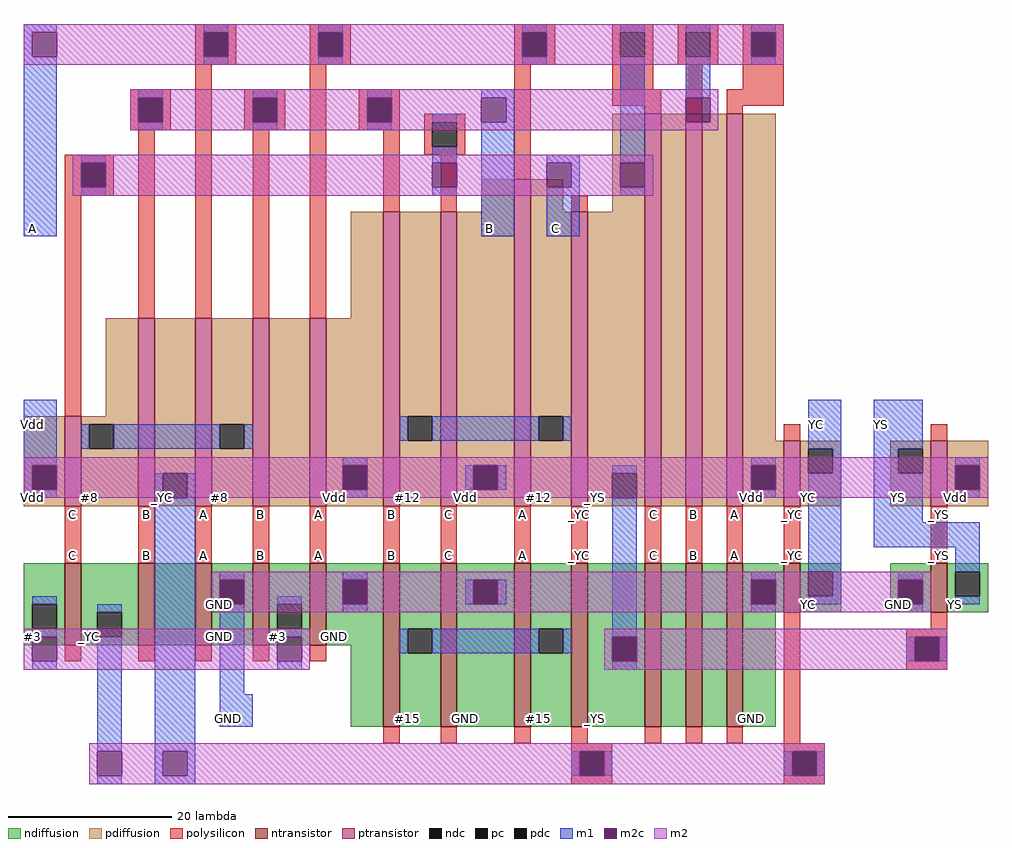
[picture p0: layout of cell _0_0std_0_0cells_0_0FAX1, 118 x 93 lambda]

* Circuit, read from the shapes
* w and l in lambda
.subckt _0_0std_0_0cells_0_0FAX1 #12 #15 #3 #8 A B C GND Vdd YC YS _YC _YS
M1 _YC C #3 VSUBS nfet w=10 l=2
M2 n1 B _YC VSUBS nfet w=10 l=2
M3 GND A n1 VSUBS nfet w=10 l=2
M4 #3 B GND VSUBS nfet w=10 l=2
M5 GND A #3 VSUBS nfet w=10 l=2
M6 #15 B GND VSUBS nfet w=20 l=2
M7 GND C #15 VSUBS nfet w=20 l=2
M8 #15 A GND VSUBS nfet w=20 l=2
M9 _YS _YC #15 VSUBS nfet w=20 l=2
M10 n2 C _YS VSUBS nfet w=20 l=2
M11 n3 B n2 VSUBS nfet w=20 l=2
M12 GND A n3 VSUBS nfet w=20 l=2
M13 YC _YC GND VSUBS nfet w=6 l=2
M14 YS _YS GND VSUBS nfet w=6 l=2
M15 #8 C Vdd NWELL pfet w=11 l=2
M16 _YC B #8 NWELL pfet w=23 l=2
M17 #8 A _YC NWELL pfet w=23 l=2
M18 n4 B #8 NWELL pfet w=23 l=2
M19 Vdd A n4 NWELL pfet w=23 l=2
M20 #12 B Vdd NWELL pfet w=36 l=2
M21 Vdd C #12 NWELL pfet w=36 l=2
M22 #12 A Vdd NWELL pfet w=40 l=2
M23 _YS _YC #12 NWELL pfet w=36 l=2
M24 n5 C _YS NWELL pfet w=48 l=2
M25 n6 B n5 NWELL pfet w=48 l=2
M26 Vdd A n6 NWELL pfet w=48 l=2
M27 YC _YC Vdd NWELL pfet w=8 l=2
M28 Vdd _YS YS NWELL pfet w=8 l=2
.ends

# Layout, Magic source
magic
tech sky130l
<< ndiffusion >>
rect 8 19 13 24
rect 8 16 9 19
rect 12 16 13 19
rect 8 14 13 16
rect 15 18 22 24
rect 15 15 17 18
rect 20 15 22 18
rect 15 14 22 15
rect 24 14 29 24
rect 31 22 36 24
rect 31 19 32 22
rect 35 19 36 22
rect 31 14 36 19
rect 38 19 43 24
rect 38 16 39 19
rect 42 16 43 19
rect 38 14 43 16
rect 45 22 52 24
rect 45 19 47 22
rect 50 19 52 22
rect 45 14 52 19
rect 48 4 52 14
rect 54 16 59 24
rect 54 13 55 16
rect 58 13 59 16
rect 54 4 59 13
rect 61 22 68 24
rect 61 19 63 22
rect 66 19 68 22
rect 61 4 68 19
rect 70 16 75 24
rect 70 13 71 16
rect 74 13 75 16
rect 70 4 75 13
rect 77 15 84 24
rect 77 12 80 15
rect 83 12 84 15
rect 77 4 84 12
rect 86 4 89 24
rect 91 4 94 24
rect 96 22 101 24
rect 96 19 97 22
rect 100 19 101 22
rect 96 18 101 19
rect 103 23 108 24
rect 103 20 104 23
rect 107 20 108 23
rect 103 18 108 20
rect 114 22 119 24
rect 114 19 115 22
rect 118 19 119 22
rect 114 18 119 19
rect 121 23 126 24
rect 121 20 122 23
rect 125 20 126 23
rect 121 18 126 20
rect 96 4 100 18
<< ndc >>
rect 9 16 12 19
rect 17 15 20 18
rect 32 19 35 22
rect 39 16 42 19
rect 47 19 50 22
rect 55 13 58 16
rect 63 19 66 22
rect 71 13 74 16
rect 80 12 83 15
rect 97 19 100 22
rect 104 20 107 23
rect 115 19 118 22
rect 122 20 125 23
<< ntransistor >>
rect 13 14 15 24
rect 22 14 24 24
rect 29 14 31 24
rect 36 14 38 24
rect 43 14 45 24
rect 52 4 54 24
rect 59 4 61 24
rect 68 4 70 24
rect 75 4 77 24
rect 84 4 86 24
rect 89 4 91 24
rect 94 4 96 24
rect 101 18 103 24
rect 119 18 121 24
<< pdiffusion >>
rect 64 67 68 71
rect 48 54 52 67
rect 18 42 22 54
rect 8 36 13 42
rect 8 33 9 36
rect 12 33 13 36
rect 8 31 13 33
rect 15 41 22 42
rect 15 38 16 41
rect 19 38 22 41
rect 15 31 22 38
rect 24 35 29 54
rect 24 32 25 35
rect 28 32 29 35
rect 24 31 29 32
rect 31 41 36 54
rect 31 38 32 41
rect 35 38 36 41
rect 31 31 36 38
rect 38 31 43 54
rect 45 36 52 54
rect 45 33 47 36
rect 50 33 52 36
rect 45 31 52 33
rect 54 42 59 67
rect 54 39 55 42
rect 58 39 59 42
rect 54 31 59 39
rect 61 36 68 67
rect 61 33 63 36
rect 66 33 68 36
rect 61 31 68 33
rect 70 67 74 71
rect 80 67 84 79
rect 70 42 75 67
rect 70 39 71 42
rect 74 39 75 42
rect 70 31 75 39
rect 77 35 84 67
rect 77 32 80 35
rect 83 32 84 35
rect 77 31 84 32
rect 86 31 89 79
rect 91 31 94 79
rect 96 39 100 79
rect 96 36 101 39
rect 96 33 97 36
rect 100 33 101 36
rect 96 31 101 33
rect 103 38 108 39
rect 103 35 104 38
rect 107 35 108 38
rect 103 31 108 35
rect 114 38 119 39
rect 114 35 115 38
rect 118 35 119 38
rect 114 31 119 35
rect 121 36 126 39
rect 121 33 122 36
rect 125 33 126 36
rect 121 31 126 33
<< pdc >>
rect 9 33 12 36
rect 16 38 19 41
rect 25 32 28 35
rect 32 38 35 41
rect 47 33 50 36
rect 55 39 58 42
rect 63 33 66 36
rect 71 39 74 42
rect 80 32 83 35
rect 97 33 100 36
rect 104 35 107 38
rect 115 35 118 38
rect 122 33 125 36
<< ptransistor >>
rect 13 31 15 42
rect 22 31 24 54
rect 29 31 31 54
rect 36 31 38 54
rect 43 31 45 54
rect 52 31 54 67
rect 59 31 61 67
rect 68 31 70 71
rect 75 31 77 67
rect 84 31 86 79
rect 89 31 91 79
rect 94 31 96 79
rect 101 31 103 39
rect 119 31 121 39
<< polysilicon >>
rect 29 89 34 90
rect 29 86 30 89
rect 33 86 34 89
rect 29 85 34 86
rect 43 89 48 90
rect 43 86 44 89
rect 47 86 48 89
rect 43 85 48 86
rect 68 89 73 90
rect 68 86 69 89
rect 72 86 73 89
rect 68 85 73 86
rect 80 89 85 90
rect 80 86 81 89
rect 84 86 85 89
rect 21 81 26 82
rect 21 78 22 81
rect 25 78 26 81
rect 21 77 26 78
rect 13 73 19 74
rect 13 70 15 73
rect 18 70 19 73
rect 13 69 19 70
rect 13 42 15 69
rect 22 54 24 77
rect 29 54 31 85
rect 35 81 40 82
rect 35 78 36 81
rect 39 78 40 81
rect 35 77 40 78
rect 36 54 38 77
rect 43 54 45 85
rect 49 81 54 82
rect 49 78 50 81
rect 53 78 54 81
rect 49 77 54 78
rect 52 67 54 77
rect 57 78 62 79
rect 57 75 58 78
rect 61 75 62 78
rect 57 74 62 75
rect 59 67 61 74
rect 68 71 70 85
rect 80 82 85 86
rect 88 89 93 90
rect 88 86 89 89
rect 92 86 93 89
rect 88 85 93 86
rect 96 89 101 90
rect 96 86 97 89
rect 100 86 101 89
rect 80 80 86 82
rect 84 79 86 80
rect 89 79 91 85
rect 96 82 101 86
rect 94 80 101 82
rect 94 79 96 80
rect 75 67 77 69
rect 101 39 103 41
rect 119 39 121 41
rect 13 24 15 31
rect 22 24 24 31
rect 29 24 31 31
rect 36 24 38 31
rect 43 24 45 31
rect 52 24 54 31
rect 59 24 61 31
rect 68 24 70 31
rect 75 24 77 31
rect 84 24 86 31
rect 89 24 91 31
rect 94 24 96 31
rect 101 24 103 31
rect 119 24 121 31
rect 13 12 15 14
rect 22 12 24 14
rect 29 12 31 14
rect 36 12 38 14
rect 43 12 45 14
rect 52 2 54 4
rect 59 2 61 4
rect 68 2 70 4
rect 75 2 77 4
rect 84 2 86 4
rect 89 2 91 4
rect 94 2 96 4
rect 101 2 103 18
rect 119 16 121 18
rect 116 15 121 16
rect 116 12 117 15
rect 120 12 121 15
rect 116 11 121 12
rect 75 1 80 2
rect 75 -2 76 1
rect 79 -2 80 1
rect 75 -3 80 -2
rect 101 1 106 2
rect 101 -2 102 1
rect 105 -2 106 1
rect 101 -3 106 -2
<< pc >>
rect 30 86 33 89
rect 44 86 47 89
rect 69 86 72 89
rect 81 86 84 89
rect 22 78 25 81
rect 15 70 18 73
rect 36 78 39 81
rect 50 78 53 81
rect 58 75 61 78
rect 89 86 92 89
rect 97 86 100 89
rect 117 12 120 15
rect 76 -2 79 1
rect 102 -2 105 1
<< m1 >>
rect 8 89 12 90
rect 8 86 9 89
rect 8 64 12 86
rect 30 89 33 90
rect 30 85 33 86
rect 44 89 47 90
rect 44 85 47 86
rect 69 89 72 90
rect 69 85 72 86
rect 81 89 84 90
rect 22 81 25 82
rect 22 77 25 78
rect 36 81 39 82
rect 36 77 39 78
rect 50 81 53 82
rect 64 81 68 82
rect 50 77 53 78
rect 58 78 61 79
rect 15 73 18 74
rect 15 69 18 70
rect 58 73 61 75
rect 58 69 61 70
rect 67 78 68 81
rect 64 64 68 78
rect 72 73 76 74
rect 75 70 76 73
rect 72 64 76 70
rect 81 73 84 86
rect 89 89 92 90
rect 89 81 92 86
rect 97 89 100 90
rect 97 85 100 86
rect 81 69 84 70
rect 8 36 12 44
rect 15 38 16 41
rect 19 38 32 41
rect 35 38 36 41
rect 54 39 55 42
rect 58 39 71 42
rect 74 39 75 42
rect 104 38 108 44
rect 8 33 9 36
rect 47 36 50 37
rect 97 36 100 37
rect 8 32 12 33
rect 24 32 25 35
rect 28 32 29 35
rect 62 33 63 36
rect 66 33 67 36
rect 80 35 83 36
rect 47 32 50 33
rect 97 32 100 33
rect 107 35 108 38
rect 9 19 12 20
rect 9 15 12 16
rect 9 11 12 12
rect 17 18 20 19
rect 17 1 20 15
rect 17 -3 20 -2
rect 24 1 29 32
rect 32 22 35 23
rect 47 22 50 23
rect 32 8 35 19
rect 39 19 42 20
rect 62 19 63 22
rect 66 19 67 22
rect 47 18 50 19
rect 39 15 42 16
rect 54 13 55 16
rect 58 13 71 16
rect 74 13 75 16
rect 80 15 83 32
rect 104 23 108 35
rect 112 38 118 44
rect 112 35 115 38
rect 112 29 118 35
rect 122 36 125 37
rect 122 32 125 33
rect 112 26 125 29
rect 122 23 125 26
rect 97 22 100 23
rect 107 20 108 23
rect 104 19 108 20
rect 115 22 118 23
rect 122 19 125 20
rect 97 18 100 19
rect 115 18 118 19
rect 39 11 42 12
rect 116 12 117 15
rect 120 12 121 15
rect 80 11 83 12
rect 32 4 36 8
rect 24 -2 25 1
rect 28 -2 29 1
rect 75 -2 76 1
rect 79 -2 80 1
rect 101 -2 102 1
rect 105 -2 106 1
rect 24 -3 29 -2
<< m2c >>
rect 9 86 12 89
rect 30 86 33 89
rect 44 86 47 89
rect 69 86 72 89
rect 22 78 25 81
rect 36 78 39 81
rect 50 78 53 81
rect 15 70 18 73
rect 58 70 61 73
rect 64 78 67 81
rect 72 70 75 73
rect 97 86 100 89
rect 89 78 92 81
rect 81 70 84 73
rect 9 33 12 36
rect 47 33 50 36
rect 63 33 66 36
rect 97 33 100 36
rect 9 12 12 15
rect 17 -2 20 1
rect 32 19 35 22
rect 47 19 50 22
rect 63 19 66 22
rect 39 12 42 15
rect 122 33 125 36
rect 97 19 100 22
rect 115 19 118 22
rect 80 12 83 15
rect 117 12 120 15
rect 25 -2 28 1
rect 76 -2 79 1
rect 102 -2 105 1
<< m2 >>
rect 8 89 101 90
rect 8 86 9 89
rect 12 86 30 89
rect 33 86 44 89
rect 47 86 69 89
rect 72 86 97 89
rect 100 86 101 89
rect 8 85 101 86
rect 21 81 93 82
rect 21 78 22 81
rect 25 78 36 81
rect 39 78 50 81
rect 53 78 64 81
rect 67 78 89 81
rect 92 78 93 81
rect 21 77 93 78
rect 14 73 85 74
rect 14 70 15 73
rect 18 70 58 73
rect 61 70 72 73
rect 75 70 81 73
rect 84 70 85 73
rect 14 69 85 70
rect 8 36 126 37
rect 8 33 9 36
rect 12 33 47 36
rect 50 33 63 36
rect 66 33 97 36
rect 100 33 122 36
rect 125 33 126 36
rect 8 32 126 33
rect 31 22 119 23
rect 31 19 32 22
rect 35 19 47 22
rect 50 19 63 22
rect 66 19 97 22
rect 100 19 115 22
rect 118 19 119 22
rect 31 18 119 19
rect 8 15 43 16
rect 8 12 9 15
rect 12 12 39 15
rect 42 12 43 15
rect 8 11 43 12
rect 79 15 121 16
rect 79 12 80 15
rect 83 12 117 15
rect 120 12 121 15
rect 79 11 121 12
rect 16 1 106 2
rect 16 -2 17 1
rect 20 -2 25 1
rect 28 -2 76 1
rect 79 -2 102 1
rect 105 -2 106 1
rect 16 -3 106 -2
<< labels >>
rlabel pdiffusion 104 32 104 32 3 YC
rlabel pdiffusion 97 32 97 32 3 Vdd
rlabel polysilicon 102 25 102 25 3 _YC
rlabel polysilicon 102 30 102 30 3 _YC
rlabel polysilicon 95 25 95 25 3 A
rlabel polysilicon 95 30 95 30 3 A
rlabel polysilicon 90 25 90 25 3 B
rlabel polysilicon 90 30 90 30 3 B
rlabel pdiffusion 78 32 78 32 3 _YS
rlabel polysilicon 85 25 85 25 3 C
rlabel polysilicon 85 30 85 30 3 C
rlabel ndiffusion 104 19 104 19 3 YC
rlabel pdiffusion 71 32 71 32 3 #12
rlabel polysilicon 76 25 76 25 3 _YC
rlabel polysilicon 76 30 76 30 3 _YC
rlabel ndiffusion 97 5 97 5 3 GND
rlabel polysilicon 69 25 69 25 3 A
rlabel polysilicon 69 30 69 30 3 A
rlabel pdiffusion 62 32 62 32 3 Vdd
rlabel polysilicon 60 25 60 25 3 C
rlabel polysilicon 60 30 60 30 3 C
rlabel pdiffusion 55 32 55 32 3 #12
rlabel polysilicon 53 25 53 25 3 B
rlabel polysilicon 53 30 53 30 3 B
rlabel pdiffusion 46 32 46 32 3 Vdd
rlabel ndiffusion 78 5 78 5 3 _YS
rlabel ndiffusion 46 15 46 15 3 GND
rlabel polysilicon 44 25 44 25 3 A
rlabel polysilicon 44 30 44 30 3 A
rlabel ndiffusion 71 5 71 5 3 #15
rlabel ndiffusion 39 15 39 15 3 #3
rlabel polysilicon 37 25 37 25 3 B
rlabel polysilicon 37 30 37 30 3 B
rlabel pdiffusion 32 32 32 32 3 #8
rlabel ndiffusion 62 5 62 5 3 GND
rlabel ndiffusion 32 15 32 15 3 GND
rlabel polysilicon 30 25 30 25 3 A
rlabel polysilicon 30 30 30 30 3 A
rlabel pdiffusion 25 32 25 32 3 _YC
rlabel ndiffusion 55 5 55 5 3 #15
rlabel polysilicon 23 25 23 25 3 B
rlabel polysilicon 23 30 23 30 3 B
rlabel ndiffusion 16 15 16 15 3 _YC
rlabel pdiffusion 16 32 16 32 3 #8
rlabel polysilicon 14 25 14 25 3 C
rlabel polysilicon 14 30 14 30 3 C
rlabel ndiffusion 9 15 9 15 3 #3
rlabel ndiffusion 122 19 122 19 3 YS
rlabel pdiffusion 122 32 122 32 3 Vdd
rlabel polysilicon 120 25 120 25 3 _YS
rlabel polysilicon 120 30 120 30 3 _YS
rlabel ndiffusion 115 19 115 19 3 GND
rlabel pdiffusion 115 32 115 32 3 YS
rlabel m2 9 32 9 32 3 Vdd
rlabel m1 33 5 33 5 3 GND
rlabel m2 32 19 32 19 3 GND
rlabel m1 9 41 9 41 3 Vdd
rlabel m1 113 41 113 41 3 YS
rlabel m1 105 41 105 41 3 YC
rlabel m1 73 65 73 65 3 C
rlabel m1 65 65 65 65 3 B
rlabel m1 9 65 9 65 3 A
<< end >>
